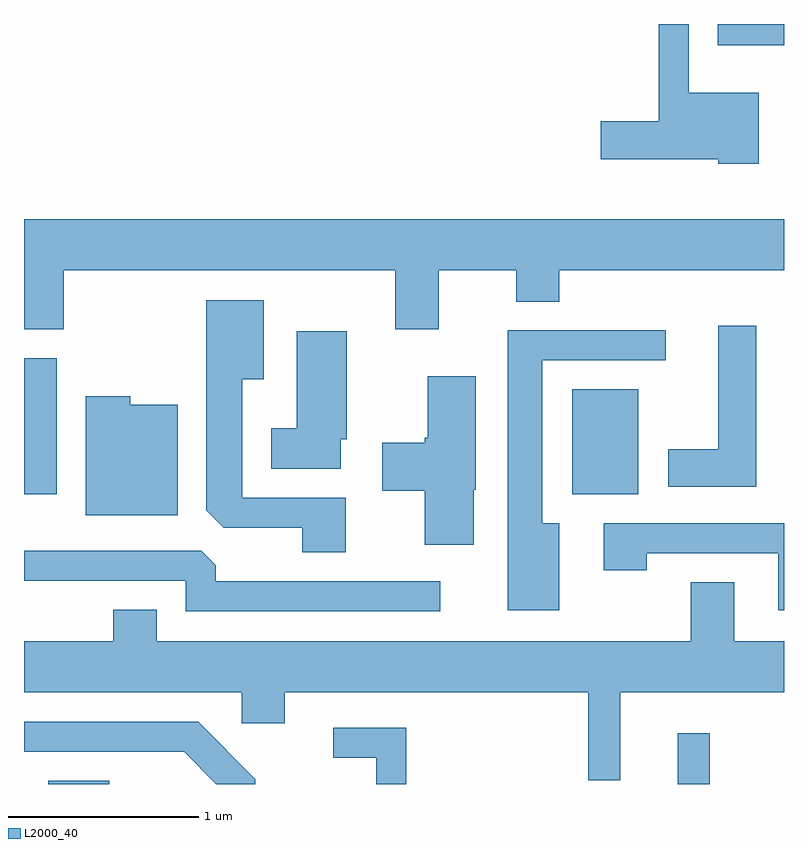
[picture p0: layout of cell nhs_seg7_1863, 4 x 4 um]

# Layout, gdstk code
import gdstk
lib = gdstk.Library(unit=1e-6, precision=1e-09)
def R(c, l, rs):  # rectangles x0, y0, x1, y1
    for r in rs: c.add(gdstk.rectangle(r[:2], r[2:], *l))
def P(c, l, *ps):  # polygons
    for p in ps: c.add(gdstk.Polygon(p, *l))
L2000_40 = (2000, 40)

nhs_seg7_1863 = lib.new_cell('nhs_seg7_1863')
R(nhs_seg7_1863, L2000_40, [(241.738,1738.252,242.059,1738.269), (245.051,1738.252,245.219,1738.518), (241.611,1739.776,241.784,1740.494), (244.496,1739.776,244.844,1740.329), (245.261,1742.141,245.611,1742.252)])
P(nhs_seg7_1863, L2000_40, [(245.479,1741.889),(245.109,1741.889),(245.109,1742.252),(244.951,1742.252),(244.951,1741.739),(244.646,1741.739),(244.646,1741.541),(245.266,1741.541),(245.266,1741.516),(245.479,1741.516)],
  [(241.819,1740.956),(243.566,1740.956),(243.566,1740.646),(243.794,1740.646),(243.794,1740.956),(244.201,1740.956),(244.201,1740.791),(244.429,1740.791),(244.429,1740.956),(245.611,1740.956),(245.611,1741.224),(241.611,1741.224),(241.611,1740.646),(241.819,1740.646)],
  [(243.304,1739.759),(242.759,1739.759),(242.759,1740.381),(242.874,1740.381),(242.874,1740.799),(242.571,1740.799),(242.571,1739.692),(242.662,1739.601),(243.076,1739.601),(243.076,1739.471),(243.304,1739.471)],
  [(245.464,1740.664),(245.266,1740.664),(245.266,1740.014),(245.001,1740.014),(245.001,1739.816),(245.464,1739.816)],
  [(244.429,1739.624),(244.339,1739.624),(244.339,1740.481),(244.988,1740.481),(244.988,1740.639),(244.156,1740.639),(244.156,1739.166),(244.429,1739.166)],
  [(243.279,1740.066),(243.309,1740.066),(243.309,1740.634),(243.046,1740.634),(243.046,1740.124),(242.911,1740.124),(242.911,1739.911),(243.279,1739.911)],
  [(243.979,1739.8),(243.989,1739.8),(243.989,1740.399),(243.736,1740.399),(243.736,1740.075),(243.721,1740.075),(243.721,1740.049),(243.496,1740.049),(243.496,1739.796),(243.721,1739.796),(243.721,1739.511),(243.979,1739.511)],
  [(242.419,1740.249),(242.169,1740.249),(242.169,1740.294),(241.936,1740.294),(241.936,1739.666),(242.419,1739.666)],
  [(245.611,1739.624),(244.661,1739.624),(244.661,1739.376),(244.889,1739.376),(244.889,1739.466),(245.581,1739.466),(245.581,1739.166),(245.611,1739.166)],
  [(243.803,1739.319),(242.619,1739.319),(242.619,1739.404),(242.544,1739.479),(241.611,1739.479),(241.611,1739.321),(242.461,1739.321),(242.461,1739.161),(243.803,1739.161)],
  [(245.121,1739.314),(245.121,1739.004),(242.309,1739.004),(242.309,1739.169),(242.081,1739.169),(242.081,1739.004),(241.611,1739.004),(241.611,1738.736),(242.756,1738.736),(242.756,1738.571),(242.984,1738.571),(242.984,1738.736),(244.581,1738.736),(244.581,1738.273),(244.749,1738.273),(244.749,1738.736),(245.611,1738.736),(245.611,1739.004),(245.349,1739.004),(245.349,1739.314)],
  [(242.829,1738.277),(242.527,1738.579),(241.611,1738.579),(241.611,1738.421),(242.454,1738.421),(242.623,1738.252),(242.829,1738.252)],
  [(243.624,1738.549),(243.238,1738.549),(243.238,1738.391),(243.466,1738.391),(243.466,1738.252),(243.624,1738.252)])

lib.write_gds('nhs_seg7_1863.gds')
